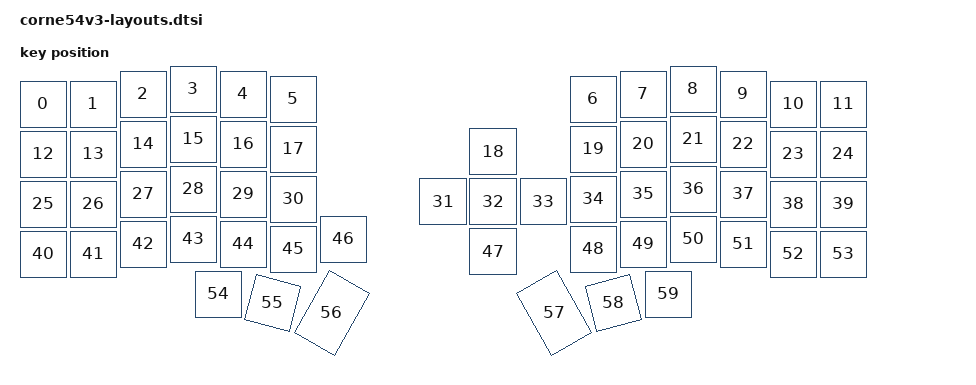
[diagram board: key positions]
#include <physical_layouts.dtsi>

/ {
    physical_layout0: physical_layout_0 {
        compatible = "zmk,physical-layout";
        display-name = "Corne54v3";

        keys  //                     w   h    x    y     rot    rx    ry
            = <&key_physical_attrs 100 100    0   30       0     0     0>
            , <&key_physical_attrs 100 100  100   30       0     0     0>
            , <&key_physical_attrs 100 100  200   10       0     0     0>
            , <&key_physical_attrs 100 100  300    0       0     0     0>
            , <&key_physical_attrs 100 100  400   10       0     0     0>
            , <&key_physical_attrs 100 100  500   20       0     0     0>
            , <&key_physical_attrs 100 100 1100   20       0     0     0>
            , <&key_physical_attrs 100 100 1200   10       0     0     0>
            , <&key_physical_attrs 100 100 1300    0       0     0     0>
            , <&key_physical_attrs 100 100 1400   10       0     0     0>
            , <&key_physical_attrs 100 100 1500   30       0     0     0>
            , <&key_physical_attrs 100 100 1600   30       0     0     0>
            , <&key_physical_attrs 100 100    0  130       0     0     0>
            , <&key_physical_attrs 100 100  100  130       0     0     0>
            , <&key_physical_attrs 100 100  200  110       0     0     0>
            , <&key_physical_attrs 100 100  300  100       0     0     0>
            , <&key_physical_attrs 100 100  400  110       0     0     0>
            , <&key_physical_attrs 100 100  500  120       0     0     0>
            , <&key_physical_attrs 100 100  900  125       0     0     0>
            , <&key_physical_attrs 100 100 1100  120       0     0     0>
            , <&key_physical_attrs 100 100 1200  110       0     0     0>
            , <&key_physical_attrs 100 100 1300  100       0     0     0>
            , <&key_physical_attrs 100 100 1400  110       0     0     0>
            , <&key_physical_attrs 100 100 1500  130       0     0     0>
            , <&key_physical_attrs 100 100 1600  130       0     0     0>
            , <&key_physical_attrs 100 100    0  230       0     0     0>
            , <&key_physical_attrs 100 100  100  230       0     0     0>
            , <&key_physical_attrs 100 100  200  210       0     0     0>
            , <&key_physical_attrs 100 100  300  200       0     0     0>
            , <&key_physical_attrs 100 100  400  210       0     0     0>
            , <&key_physical_attrs 100 100  500  220       0     0     0>
            , <&key_physical_attrs 100 100  800  225       0     0     0>
            , <&key_physical_attrs 100 100  900  225       0     0     0>
            , <&key_physical_attrs 100 100 1000  225       0     0     0>
            , <&key_physical_attrs 100 100 1100  220       0     0     0>
            , <&key_physical_attrs 100 100 1200  210       0     0     0>
            , <&key_physical_attrs 100 100 1300  200       0     0     0>
            , <&key_physical_attrs 100 100 1400  210       0     0     0>
            , <&key_physical_attrs 100 100 1500  230       0     0     0>
            , <&key_physical_attrs 100 100 1600  230       0     0     0>
            , <&key_physical_attrs 100 100    0  330       0     0     0>
            , <&key_physical_attrs 100 100  100  330       0     0     0>
            , <&key_physical_attrs 100 100  200  310       0     0     0>
            , <&key_physical_attrs 100 100  300  300       0     0     0>
            , <&key_physical_attrs 100 100  400  310       0     0     0>
            , <&key_physical_attrs 100 100  500  320       0     0     0>
            , <&key_physical_attrs 100 100  600  300       0     0     0>
            , <&key_physical_attrs 100 100  900  325       0     0     0>
            , <&key_physical_attrs 100 100 1100  320       0     0     0>
            , <&key_physical_attrs 100 100 1200  310       0     0     0>
            , <&key_physical_attrs 100 100 1300  300       0     0     0>
            , <&key_physical_attrs 100 100 1400  310       0     0     0>
            , <&key_physical_attrs 100 100 1500  330       0     0     0>
            , <&key_physical_attrs 100 100 1600  330       0     0     0>
            , <&key_physical_attrs 100 100  350  410       0     0     0>
            , <&key_physical_attrs 100 100  475  410    1500   450   410>
            , <&key_physical_attrs 100 150  600  370    3000   540   430>
            , <&key_physical_attrs 100 150 1000  370 (-3000)  1160   430>
            , <&key_physical_attrs 100 100 1125  410 (-1500)  1250   410>
            , <&key_physical_attrs 100 100 1250  410       0     0     0>
            ;
    };

    position_map {
        compatible = "zmk,physical-layout-position-map";

        layout_0 {
            physical-layout = <&physical_layout0>;
            positions = <>;
        };
    };
};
